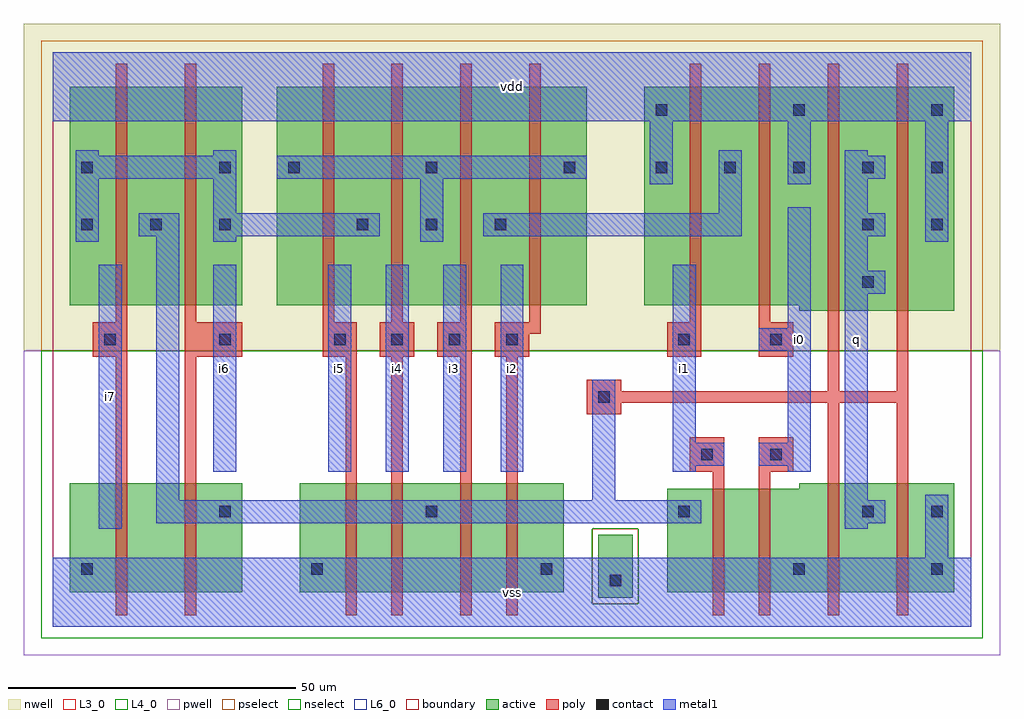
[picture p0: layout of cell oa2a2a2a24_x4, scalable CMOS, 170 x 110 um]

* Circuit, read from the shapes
.subckt oa2a2a2a24_x4 i0 i1 i2 i3 i4 i5 i6 i7 q vdd vss
M1 n1 i7 vss vss nfet w=19u l=2u
M2 n2 i6 n1 vss nfet w=19u l=2u
M3 n3 i5 vss vss nfet w=19u l=2u
M4 n2 i4 n3 vss nfet w=19u l=2u
M5 n4 i3 n2 vss nfet w=19u l=2u
M6 vss i2 n4 vss nfet w=19u l=2u
M7 n5 i1 n2 vss nfet w=18u l=2u
M8 vss i0 n5 vss nfet w=18u l=2u
M9 q n2 vss vss nfet w=19u l=2u m=2
M10 n2 i7 n6 n7 pfet w=38u l=2u
M11 n6 i6 n2 n7 pfet w=38u l=2u
M12 n6 i5 n8 n7 pfet w=38u l=2u
M13 n8 i4 n6 n7 pfet w=38u l=2u
M14 n9 i3 n8 n7 pfet w=38u l=2u
M15 n8 i2 n9 n7 pfet w=38u l=2u
M16 n9 i1 vdd n7 pfet w=38u l=2u
M17 vdd i0 n9 n7 pfet w=38u l=2u
M18 q n2 vdd n7 pfet w=39u l=2u m=2
.ends

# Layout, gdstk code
import gdstk
lib = gdstk.Library(unit=1e-6, precision=1e-09)
def R(c, l, rs):  # rectangles x0, y0, x1, y1
    for r in rs: c.add(gdstk.rectangle(r[:2], r[2:], *l))
def A(c, l, x, y, w, h, nx, ny, dx, dy):  # array of equal rectangles
    R(c, l, [(x+i*dx, y+j*dy, x+i*dx+w, y+j*dy+h) for i in range(nx) for j in range(ny)])
L3_0 = (3, 0)
L4_0 = (4, 0)
L6_0 = (6, 0)
contact = (25, 0)
pwell = (41, 0)
nwell = (42, 0)
active = (43, 0)
pselect = (44, 0)
nselect = (45, 0)
poly = (46, 0)
metal1 = (49, 0)
boundary = (63, 0)

oa2a2a2a24_x4 = lib.new_cell('oa2a2a2a24_x4')
R(oa2a2a2a24_x4, L3_0, [(3,6,33,25), (43,6,89,25), (107,6,157,24), (130,24,157,25)])
R(oa2a2a2a24_x4, L4_0, [(130,55,157,56), (3,56,33,94), (39,56,93,94), (103,56,157,94)])
R(oa2a2a2a24_x4, L6_0, [(95,5,101,16)])
A(oa2a2a2a24_x4, contact, 5, 9, 2, 2, 3, 1, 40, 0)
A(oa2a2a2a24_x4, contact, 9, 49, 2, 2, 3, 1, 20, 0)
A(oa2a2a2a24_x4, contact, 59, 49, 2, 2, 3, 1, 10, 0)
A(oa2a2a2a24_x4, contact, 5, 69, 2, 2, 3, 1, 12, 0)
A(oa2a2a2a24_x4, contact, 53, 69, 2, 2, 3, 1, 12, 0)
A(oa2a2a2a24_x4, contact, 41, 79, 2, 2, 3, 1, 24, 0)
A(oa2a2a2a24_x4, contact, 105, 79, 2, 2, 5, 1, 12, 0)
A(oa2a2a2a24_x4, contact, 105, 89, 2, 2, 3, 1, 24, 0)
R(oa2a2a2a24_x4, contact, [(97,7,99,9), (129,9,131,11), (153,9,155,11), (29,19,31,21), (65,19,67,21), (109,19,111,21), (141,19,143,21), (153,19,155,21), (113,29,115,31), (125,29,127,31), (95,39,97,41), (109,49,111,51), (125,49,127,51), (141,59,143,61), (141,69,143,71), (153,69,155,71), (5,79,7,81), (29,79,31,81)])
R(oa2a2a2a24_x4, pwell, [(-5,-5,165,48)])
R(oa2a2a2a24_x4, nwell, [(-5,48,165,105)])
R(oa2a2a2a24_x4, active, [(95,5,101,16), (3,6,33,25), (43,6,89,25), (107,6,157,24), (130,24,157,25), (130,55,157,56), (3,56,33,94), (39,56,93,94), (103,56,157,94)])
R(oa2a2a2a24_x4, pselect, [(94,4,102,17), (-2,48,162,102)])
R(oa2a2a2a24_x4, nselect, [(-2,-2,162,4), (-2,4,94,17), (102,4,162,17), (-2,17,162,48)])
A(oa2a2a2a24_x4, poly, 47, 47, 6, 6, 3, 1, 10, 0)
A(oa2a2a2a24_x4, poly, 47, 53, 2, 45, 4, 1, 12, 0)
R(oa2a2a2a24_x4, poly, [(11,2,13,47), (23,2,25,47), (51,2,53,47), (59,2,61,47), (71,2,73,47), (79,2,81,47), (115,2,117,27), (123,2,125,27), (135,2,137,39), (147,2,149,39), (111,27,117,33), (123,27,129,33), (93,37,99,39), (93,39,149,41), (93,41,99,43), (135,41,137,98), (147,41,149,98), (7,47,13,53), (23,47,33,53), (77,47,83,51), (107,47,113,53), (123,47,129,53), (77,51,85,53), (11,53,13,98), (23,53,25,98), (111,53,113,98), (123,53,125,98)])
A(oa2a2a2a24_x4, metal1, 48, 27, 4, 36, 4, 1, 10, 0)
A(oa2a2a2a24_x4, metal1, 138, 58, 7, 4, 1, 3, 0, 10)
R(oa2a2a2a24_x4, metal1, [(0,0,160,12), (152,12,156,23), (8,17,12,63), (138,17,142,18), (18,18,113,22), (138,18,145,22), (18,22,22,68), (94,22,98,43), (138,22,142,58), (28,27,32,63), (108,27,112,28), (128,27,132,28), (108,28,117,32), (123,28,132,32), (108,32,112,63), (128,32,132,48), (123,48,132,52), (128,52,132,73), (138,62,142,68), (4,67,8,78), (28,67,32,68), (64,67,68,78), (152,67,156,88), (15,68,22,72), (28,68,57,72), (75,68,120,72), (28,72,32,78), (116,72,120,83), (138,72,142,78), (104,77,108,88), (128,77,132,88), (4,78,32,82), (39,78,93,82), (4,82,8,83), (28,82,32,83), (138,82,142,83), (0,88,160,100)])
R(oa2a2a2a24_x4, boundary, [(0,0,160,100)])
oa2a2a2a24_x4.add(gdstk.Label('i6', (30,45), layer=49, texttype=0))
oa2a2a2a24_x4.add(gdstk.Label('i7', (10,40), layer=49, texttype=0))
oa2a2a2a24_x4.add(gdstk.Label('i3', (70,45), layer=49, texttype=0))
oa2a2a2a24_x4.add(gdstk.Label('i5', (50,45), layer=49, texttype=0))
oa2a2a2a24_x4.add(gdstk.Label('i4', (60,45), layer=49, texttype=0))
oa2a2a2a24_x4.add(gdstk.Label('vss', (80,6), layer=49, texttype=0))
oa2a2a2a24_x4.add(gdstk.Label('i2', (80,45), layer=49, texttype=0))
oa2a2a2a24_x4.add(gdstk.Label('i1', (110,45), layer=49, texttype=0))
oa2a2a2a24_x4.add(gdstk.Label('vdd', (80,94), layer=49, texttype=0))
oa2a2a2a24_x4.add(gdstk.Label('i0', (130,50), layer=49, texttype=0))
oa2a2a2a24_x4.add(gdstk.Label('q', (140,50), layer=49, texttype=0))

lib.write_gds('oa2a2a2a24_x4.gds')
